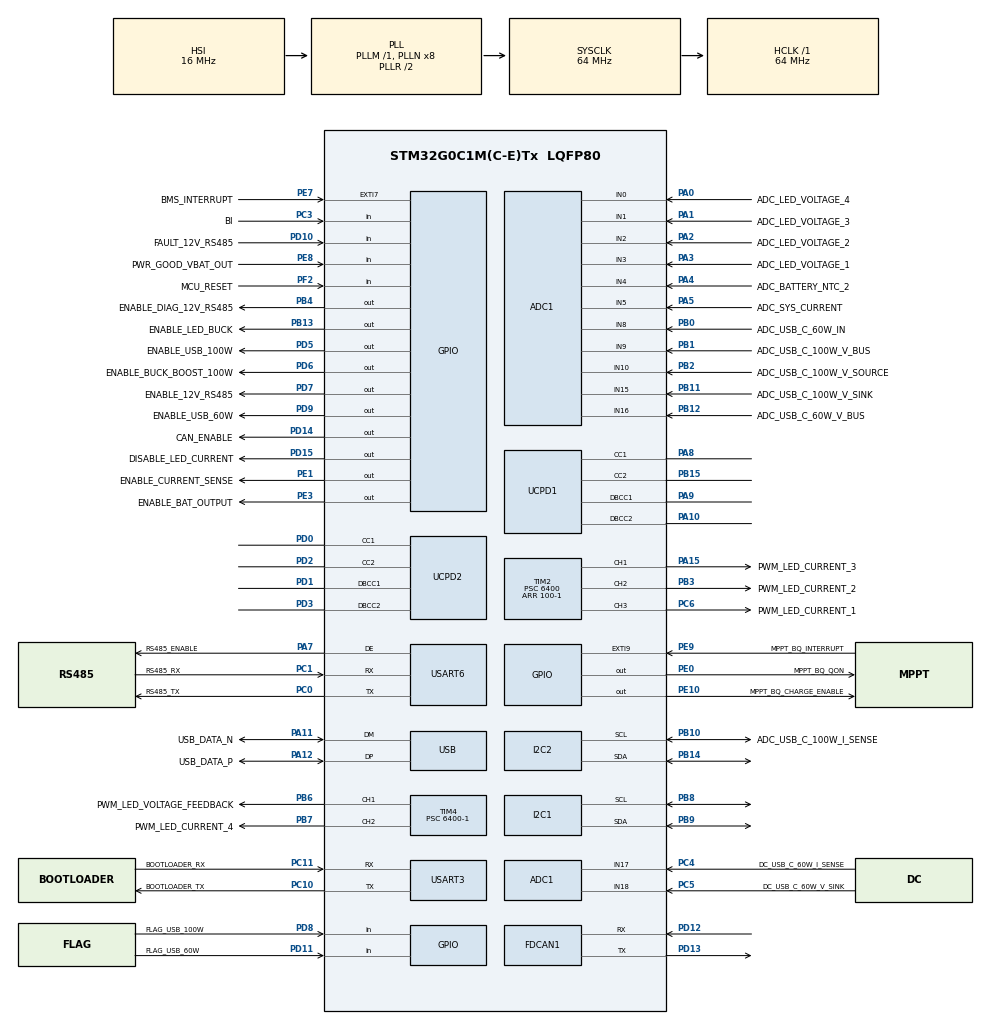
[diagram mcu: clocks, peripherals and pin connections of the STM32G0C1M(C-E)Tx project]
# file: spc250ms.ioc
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ADC1.NbrOfConversion=1
ADC1.NbrOfConversionFlag=0
ADC1.SelectedChannel=ADC_CHANNEL_0|ADC_CHANNEL_1|ADC_CHANNEL_2|ADC_CHANNEL_3|ADC_CHANNEL_4|ADC_CHANNEL_5|ADC_CHANNEL_8|ADC_CHANNEL_9|ADC_CHANNEL_10|ADC_CHANNEL_15|ADC_CHANNEL_16|ADC_CHANNEL_17|ADC_CHANNEL_18
ADC1.Sequencer=NOT_FULLY_CONFIGURABLE
ADC1.master=1
Dma.Request0=UCPD2_RX
Dma.Request1=UCPD2_TX
Dma.Request2=UCPD1_RX
Dma.Request3=UCPD1_TX
Dma.UCPD1_RX.2.Direction=DMA_PERIPH_TO_MEMORY
Dma.UCPD1_RX.2.EventEnable=DISABLE
Dma.UCPD1_RX.2.Instance=DMA1_Channel3
Dma.UCPD1_RX.2.MemDataAlignment=DMA_MDATAALIGN_BYTE
Dma.UCPD1_RX.2.MemInc=DMA_MINC_ENABLE
Dma.UCPD1_RX.2.Mode=DMA_NORMAL
Dma.UCPD1_RX.2.PeriphDataAlignment=DMA_PDATAALIGN_BYTE
Dma.UCPD1_RX.2.PeriphInc=DMA_PINC_DISABLE
Dma.UCPD1_RX.2.Polarity=HAL_DMAMUX_REQ_GEN_RISING
Dma.UCPD1_RX.2.Priority=DMA_PRIORITY_LOW
Dma.UCPD1_RX.2.RequestNumber=1
Dma.UCPD1_RX.2.SignalID=NONE
Dma.UCPD1_RX.2.SyncEnable=DISABLE
Dma.UCPD1_RX.2.SyncPolarity=HAL_DMAMUX_SYNC_NO_EVENT
Dma.UCPD1_RX.2.SyncRequestNumber=1
Dma.UCPD1_RX.2.SyncSignalID=NONE
Dma.UCPD1_TX.3.Direction=DMA_MEMORY_TO_PERIPH
Dma.UCPD1_TX.3.EventEnable=DISABLE
Dma.UCPD1_TX.3.Instance=DMA1_Channel4
Dma.UCPD1_TX.3.MemDataAlignment=DMA_MDATAALIGN_BYTE
Dma.UCPD1_TX.3.MemInc=DMA_MINC_ENABLE
Dma.UCPD1_TX.3.Mode=DMA_NORMAL
Dma.UCPD1_TX.3.PeriphDataAlignment=DMA_PDATAALIGN_BYTE
Dma.UCPD1_TX.3.PeriphInc=DMA_PINC_DISABLE
Dma.UCPD1_TX.3.Polarity=HAL_DMAMUX_REQ_GEN_RISING
Dma.UCPD1_TX.3.Priority=DMA_PRIORITY_LOW
Dma.UCPD1_TX.3.RequestNumber=1
Dma.UCPD1_TX.3.SignalID=NONE
Dma.UCPD1_TX.3.SyncEnable=DISABLE
Dma.UCPD1_TX.3.SyncPolarity=HAL_DMAMUX_SYNC_NO_EVENT
Dma.UCPD1_TX.3.SyncRequestNumber=1
Dma.UCPD1_TX.3.SyncSignalID=NONE
Dma.UCPD2_RX.0.Direction=DMA_PERIPH_TO_MEMORY
Dma.UCPD2_RX.0.EventEnable=DISABLE
Dma.UCPD2_RX.0.Instance=DMA1_Channel1
Dma.UCPD2_RX.0.MemDataAlignment=DMA_MDATAALIGN_BYTE
Dma.UCPD2_RX.0.MemInc=DMA_MINC_ENABLE
Dma.UCPD2_RX.0.Mode=DMA_NORMAL
Dma.UCPD2_RX.0.PeriphDataAlignment=DMA_PDATAALIGN_BYTE
Dma.UCPD2_RX.0.PeriphInc=DMA_PINC_DISABLE
Dma.UCPD2_RX.0.Polarity=HAL_DMAMUX_REQ_GEN_RISING
Dma.UCPD2_RX.0.Priority=DMA_PRIORITY_LOW
Dma.UCPD2_RX.0.RequestNumber=1
Dma.UCPD2_RX.0.SignalID=NONE
Dma.UCPD2_RX.0.SyncEnable=DISABLE
Dma.UCPD2_RX.0.SyncPolarity=HAL_DMAMUX_SYNC_NO_EVENT
Dma.UCPD2_RX.0.SyncRequestNumber=1
Dma.UCPD2_RX.0.SyncSignalID=NONE
Dma.UCPD2_TX.1.Direction=DMA_MEMORY_TO_PERIPH
Dma.UCPD2_TX.1.EventEnable=DISABLE
Dma.UCPD2_TX.1.Instance=DMA1_Channel2
Dma.UCPD2_TX.1.MemDataAlignment=DMA_MDATAALIGN_BYTE
Dma.UCPD2_TX.1.MemInc=DMA_MINC_ENABLE
Dma.UCPD2_TX.1.Mode=DMA_NORMAL
Dma.UCPD2_TX.1.PeriphDataAlignment=DMA_PDATAALIGN_BYTE
Dma.UCPD2_TX.1.PeriphInc=DMA_PINC_DISABLE
Dma.UCPD2_TX.1.Polarity=HAL_DMAMUX_REQ_GEN_RISING
Dma.UCPD2_TX.1.Priority=DMA_PRIORITY_LOW
Dma.UCPD2_TX.1.RequestNumber=1
Dma.UCPD2_TX.1.SignalID=NONE
Dma.UCPD2_TX.1.SyncEnable=DISABLE
Dma.UCPD2_TX.1.SyncPolarity=HAL_DMAMUX_SYNC_NO_EVENT
Dma.UCPD2_TX.1.SyncRequestNumber=1
Dma.UCPD2_TX.1.SyncSignalID=NONE
FDCAN1.CalculateBaudRateNominal=500000
FDCAN1.CalculateTimeBitNominal=2000
FDCAN1.CalculateTimeQuantumNominal=500.0
FDCAN1.NominalPrescaler=32
FDCAN1.NominalTimeSeg1=1
FDCAN1.NominalTimeSeg2=2
I2C1.Timing=0x10B17DB5
I2C2.Timing=0x10B17DB5
Mcu.Family=STM32G0
Mcu.Name=STM32G0C1M(C-E)Tx
Mcu.Package=LQFP80
NVIC.DMA1_Ch4_7_DMA2_Ch1_5_DMAMUX1_OVR_IRQn=true\:0\:0\:false\:false\:true\:false\:true\:true
NVIC.DMA1_Channel1_IRQn=true\:0\:0\:false\:false\:true\:false\:true\:true
NVIC.DMA1_Channel2_3_IRQn=true\:0\:0\:false\:false\:true\:false\:true\:true
NVIC.TIM16_FDCAN_IT0_IRQn=true\:0\:0\:false\:false\:true\:true\:true\:true
NVIC.TIM17_FDCAN_IT1_IRQn=true\:0\:0\:false\:false\:true\:true\:true\:true
NVIC.USB_UCPD1_2_IRQn=true\:0\:0\:false\:false\:true\:true\:true\:true
PA0.GPIO_Label=ADC_LED_VOLTAGE_4
PA0.Mode=IN0
PA0.Signal=ADC1_IN0
PA1.GPIO_Label=ADC_LED_VOLTAGE_3
PA1.Mode=IN1
PA1.Signal=ADC1_IN1
PA10.Mode=EnableDeadBattery
PA10.Signal=UCPD1_DBCC2
PA11\ [PA9].GPIO_Label=USB_DATA_N
PA11\ [PA9].Mode=Device
PA11\ [PA9].Signal=USB_DM
PA12\ [PA10].GPIO_Label=USB_DATA_P
PA12\ [PA10].Mode=Device
PA12\ [PA10].Signal=USB_DP
PA13.Mode=Serial_Wire
PA13.Signal=SYS_SWDIO
PA14-BOOT0.Mode=Serial_Wire
PA14-BOOT0.Signal=SYS_SWCLK
PA15.GPIO_Label=PWM_LED_CURRENT_3 
PA15.Signal=S_TIM2_CH1_ETR
PA2.GPIO_Label=ADC_LED_VOLTAGE_2
PA2.Mode=IN2
PA2.Signal=ADC1_IN2
PA3.GPIO_Label=ADC_LED_VOLTAGE_1
PA3.Mode=IN3
PA3.Signal=ADC1_IN3
PA4.GPIO_Label=ADC_BATTERY_NTC_2
PA4.Mode=IN4
PA4.Signal=ADC1_IN4
PA5.GPIO_Label=ADC_SYS_CURRENT
PA5.Mode=IN5
PA5.Signal=ADC1_IN5
PA7.GPIO_Label=RS485_ENABLE
PA7.Mode=Hardware Flow Control (RS485)
PA7.Signal=USART6_DE
PA8.Mode=Sink_AllSignals
PA8.Signal=UCPD1_CC1
PA9.Mode=EnableDeadBattery
PA9.Signal=UCPD1_DBCC1
PB0.GPIO_Label=ADC_USB_C_60W_IN
PB0.Mode=IN8
PB0.Signal=ADC1_IN8
PB1.GPIO_Label=ADC_USB_C_100W_V_BUS
PB1.Mode=IN9
PB1.Signal=ADC1_IN9
PB10.GPIO_Label=ADC_USB_C_100W_I_SENSE
PB10.Mode=I2C
PB10.Signal=I2C2_SCL
PB11.GPIO_Label=ADC_USB_C_100W_V_SINK
PB11.Mode=IN15
PB11.Signal=ADC1_IN15
PB12.GPIO_Label=ADC_USB_C_60W_V_BUS
PB12.Mode=IN16
PB12.Signal=ADC1_IN16
PB13.GPIO_Label=ENABLE_LED_BUCK
PB13.Signal=GPIO_Output
PB14.Mode=I2C
PB14.Signal=I2C2_SDA
PB15.Mode=Sink_AllSignals
PB15.Signal=UCPD1_CC2
PB2.GPIO_Label=ADC_USB_C_100W_V_SOURCE
PB2.Mode=IN10
PB2.Signal=ADC1_IN10
PB3.GPIO_Label=PWM_LED_CURRENT_2
PB3.Signal=S_TIM2_CH2
PB4.GPIO_Label=ENABLE_DIAG_12V_RS485
PB4.Signal=GPIO_Output
PB6.GPIO_Label=PWM_LED_VOLTAGE_FEEDBACK
PB6.Signal=S_TIM4_CH1
PB7.GPIO_Label=PWM_LED_CURRENT_4
PB7.Signal=S_TIM4_CH2
PB8.Mode=I2C
PB8.Signal=I2C1_SCL
PB9.Mode=I2C
PB9.Signal=I2C1_SDA
PC0.GPIO_Label=RS485_TX
PC0.Mode=Asynchronous
PC0.Signal=USART6_TX
PC1.GPIO_Label=RS485_RX
PC1.Mode=Asynchronous
PC1.Signal=USART6_RX
PC10.GPIO_Label=BOOTLOADER_TX
PC10.Mode=Asynchronous
PC10.Signal=USART3_TX
PC11.GPIO_Label=BOOTLOADER_RX
PC11.Mode=Asynchronous
PC11.Signal=USART3_RX
PC3.GPIO_Label=BI
PC3.Signal=GPIO_Input
PC4.GPIO_Label=DC_USB_C_60W_I_SENSE
PC4.Mode=IN17
PC4.Signal=ADC1_IN17
PC5.GPIO_Label=DC_USB_C_60W_V_SINK
PC5.Mode=IN18
PC5.Signal=ADC1_IN18
PC6.GPIO_Label=PWM_LED_CURRENT_1 
PC6.Signal=S_TIM2_CH3
PD0.Mode=Sink_AllSignals
PD0.Signal=UCPD2_CC1
PD1.Mode=EnableDeadBattery
PD1.Signal=UCPD2_DBCC1
PD10.GPIO_Label=FAULT_12V_RS485
PD10.Signal=GPIO_Input
PD11.GPIO_Label=FLAG_USB_60W
PD11.Signal=GPIO_Input
PD12.Mode=FDCAN_Activate
PD12.Signal=FDCAN1_RX
PD13.Mode=FDCAN_Activate
PD13.Signal=FDCAN1_TX
PD14.GPIO_Label=CAN_ENABLE
PD14.Signal=GPIO_Output
PD15.GPIO_Label=DISABLE_LED_CURRENT
PD15.Signal=GPIO_Output
PD2.Mode=Sink_AllSignals
PD2.Signal=UCPD2_CC2
PD3.Mode=EnableDeadBattery
PD3.Signal=UCPD2_DBCC2
PD5.GPIO_Label=ENABLE_USB_100W
PD5.Signal=GPIO_Output
PD6.GPIO_Label=ENABLE_BUCK_BOOST_100W
PD6.Signal=GPIO_Output
PD7.GPIO_Label=ENABLE_12V_RS485
PD7.Signal=GPIO_Output
PD8.GPIO_Label=FLAG_USB_100W
PD8.Signal=GPIO_Input
PD9.GPIO_Label=ENABLE_USB_60W
PD9.Signal=GPIO_Output
PE0.GPIO_Label=MPPT_BQ_QON
PE0.Signal=GPIO_Output
PE1.GPIO_Label=ENABLE_CURRENT_SENSE
PE1.Signal=GPIO_Output
PE10.GPIO_Label=MPPT_BQ_CHARGE_ENABLE
PE10.Signal=GPIO_Output
PE3.GPIO_Label=ENABLE_BAT_OUTPUT
PE3.Signal=GPIO_Output
PE7.GPIO_Label=BMS_INTERRUPT
PE7.Signal=GPXTI7
PE8.GPIO_Label=PWR_GOOD_VBAT_OUT
PE8.Signal=GPIO_Input
PE9.GPIO_Label=MPPT_BQ_INTERRUPT
PE9.Signal=GPXTI9
PF2-NRST.GPIO_Label=MCU_RESET
PF2-NRST.Signal=GPIO_Input
ProjectManager.HeapSize=0x200
ProjectManager.StackSize=0x400
ProjectManager.TargetToolchain=STM32CubeIDE
RCC.ADCFreq_Value=64000000
RCC.AHBFreq_Value=64000000
RCC.CortexFreq_Value=64000000
RCC.EXTERNAL_CLOCK_VALUE=48000
RCC.HCLKFreq_Value=64000000
RCC.HSE_VALUE=8000000
RCC.HSI48_VALUE=48000000
RCC.HSI_VALUE=16000000
RCC.LSE_VALUE=32768
RCC.SYSCLKFreq_VALUE=64000000
RCC.SYSCLKSource=RCC_SYSCLKSOURCE_PLLCLK
RCC.USBFreq_Value=48000000
RCC.VCOOutputFreq_Value=128000000
SH.S_TIM2_CH1_ETR.0=TIM2_CH1,PWM Generation1 CH1
SH.S_TIM2_CH2.0=TIM2_CH2,PWM Generation2 CH2
SH.S_TIM2_CH3.0=TIM2_CH3,PWM Generation3 CH3
SH.S_TIM4_CH1.0=TIM4_CH1,PWM Generation1 CH1
SH.S_TIM4_CH2.0=TIM4_CH2,PWM Generation2 CH2
TIM2.AutoReloadPreload=TIM_AUTORELOAD_PRELOAD_ENABLE
TIM2.Channel-PWM\ Generation1\ CH1=TIM_CHANNEL_1
TIM2.Channel-PWM\ Generation2\ CH2=TIM_CHANNEL_2
TIM2.Channel-PWM\ Generation3\ CH3=TIM_CHANNEL_3
TIM2.Period=100-1
TIM2.Prescaler=6400
TIM4.AutoReloadPreload=TIM_AUTORELOAD_PRELOAD_ENABLE
TIM4.Channel-PWM\ Generation1\ CH1=TIM_CHANNEL_1
TIM4.Channel-PWM\ Generation2\ CH2=TIM_CHANNEL_2
TIM4.Period=100
TIM4.Prescaler=6400-1
USART3.VirtualMode-Asynchronous=VM_ASYNC
USART6.VirtualMode-Asynchronous=VM_ASYNC
USART6.VirtualMode-Hardware\ Flow\ Control\ (RS485)=VM_ASYNC
USB_DEVICE.CLASS_NAME_FS=CDC
USB_DEVICE.VirtualMode=Cdc
USB_DEVICE.VirtualModeFS=Cdc_FS
VP_SYS_VS_DBSignals.Mode=DisableDeadBatterySignals
VP_TIM2_VS_ClockSourceINT.Mode=Internal
VP_TIM4_VS_ClockSourceINT.Mode=Internal
VP_USBPD_VS_PD3FULL.Mode=PD3_Full_Stack
VP_USBPD_VS_USBPD21.Mode=USBPD_P0P1
VP_USBPD_VS_usbpd_tim1.Mode=TIM1
VP_USB_DEVICE_VS_USB_DEVICE_CDC_FS.Mode=CDC_FS
board=custom

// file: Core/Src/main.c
/* USER CODE BEGIN Header */
/**
  ******************************************************************************
  * @file           : main.c
  * @brief          : Main program body
  ******************************************************************************
  * @attention
  *
  * Copyright (c) 2025 STMicroelectronics.
  * All rights reserved.
  *
  * This software is licensed under terms that can be found in the LICENSE file
  * in the root directory of this software component.
  * If no LICENSE file comes with this software, it is provided AS-IS.
  *
  ******************************************************************************
  */
/* USER CODE END Header */
#include "main.h"
#include "adc.h"
#include "dma.h"
#include "fdcan.h"
#include "i2c.h"
#include "tim.h"
#include "ucpd.h"
#include "usart.h"
#include "usbpd.h"
#include "usb_device.h"
#include "gpio.h"

/* USER CODE BEGIN Includes */
#include "usbd_cdc_if.h"
/* USER CODE END Includes */

void SystemClock_Config(void);

int main(void)
{

  /* MCU Configuration--------------------------------------------------------*/

  /* Reset of all peripherals, Initializes the Flash interface and the Systick. */
  HAL_Init();

  /* Configure the system clock */
  SystemClock_Config();

  /* Initialize all configured peripherals */
  MX_GPIO_Init();
  MX_DMA_Init();
  MX_FDCAN1_Init();
  MX_I2C1_Init();
  MX_I2C2_Init();
  MX_UCPD1_Init();
  MX_UCPD2_Init();
  MX_USART3_UART_Init();
  MX_USART6_UART_Init();
  MX_ADC1_Init();
  MX_TIM2_Init();
  MX_TIM4_Init();
  MX_USB_Device_Init();
  /* USER CODE BEGIN 2 */
  HAL_TIM_PWM_Start(&htim2, TIM_CHANNEL_1);
  HAL_TIM_PWM_Start(&htim2, TIM_CHANNEL_2);
  HAL_TIM_PWM_Start(&htim2, TIM_CHANNEL_3);
  HAL_TIM_PWM_Start(&htim4, TIM_CHANNEL_1);
  HAL_TIM_PWM_Start(&htim4, TIM_CHANNEL_2);

  uint8_t intensity = 0;
  /* USER CODE END 2 */

  /* USBPD initialisation ---------------------------------*/
  MX_USBPD_Init();

  /* Infinite loop */
  /* USER CODE BEGIN WHILE */
  char txtBuffer[8];
  uint8_t count = 1;
  while (1)
  {
	  /*
	   * 100 is max according to out timing this sets pwm dutycycle like analog write.
	   */
	  htim2.Instance->CCR1 = 100 - intensity;

	  // v con port test
	  sprintf(txtBufferQ,"%u\r\n", count);
	  count ++;
	  if (count>100)count=1;
	  CDC_Transmit_FS((uint8_t *) txtBuffer, strlen(txtBuffer));

	  HAL_Delay(100);

    /* USER CODE END WHILE */
    USBPD_DPM_Run();

  }
}

void SystemClock_Config(void)
{
  RCC_OscInitTypeDef RCC_OscInitStruct = {0};
  RCC_ClkInitTypeDef RCC_ClkInitStruct = {0};

  /** Configure the main internal regulator output voltage
  */
  HAL_PWREx_ControlVoltageScaling(PWR_REGULATOR_VOLTAGE_SCALE1);

  /** Initializes the RCC Oscillators according to the specified parameters
  * in the RCC_OscInitTypeDef structure.
  */
  RCC_OscInitStruct.OscillatorType = RCC_OSCILLATORTYPE_HSI|RCC_OSCILLATORTYPE_HSI48;
  RCC_OscInitStruct.HSIState = RCC_HSI_ON;
  RCC_OscInitStruct.HSI48State = RCC_HSI48_ON;
  RCC_OscInitStruct.HSIDiv = RCC_HSI_DIV1;
  RCC_OscInitStruct.HSICalibrationValue = RCC_HSICALIBRATION_DEFAULT;
  RCC_OscInitStruct.PLL.PLLState = RCC_PLL_ON;
  RCC_OscInitStruct.PLL.PLLSource = RCC_PLLSOURCE_HSI;
  RCC_OscInitStruct.PLL.PLLM = RCC_PLLM_DIV1;
  RCC_OscInitStruct.PLL.PLLN = 8;
  RCC_OscInitStruct.PLL.PLLP = RCC_PLLP_DIV2;
  RCC_OscInitStruct.PLL.PLLQ = RCC_PLLQ_DIV2;
  RCC_OscInitStruct.PLL.PLLR = RCC_PLLR_DIV2;
  if (HAL_RCC_OscConfig(&RCC_OscInitStruct) != HAL_OK)
  {
    Error_Handler();
  }

  /** Initializes the CPU, AHB and APB buses clocks
  */
  RCC_ClkInitStruct.ClockType = RCC_CLOCKTYPE_HCLK|RCC_CLOCKTYPE_SYSCLK
                              |RCC_CLOCKTYPE_PCLK1;
  RCC_ClkInitStruct.SYSCLKSource = RCC_SYSCLKSOURCE_PLLCLK;
  RCC_ClkInitStruct.AHBCLKDivider = RCC_SYSCLK_DIV1;
  RCC_ClkInitStruct.APB1CLKDivider = RCC_HCLK_DIV1;

  if (HAL_RCC_ClockConfig(&RCC_ClkInitStruct, FLASH_LATENCY_2) != HAL_OK)
  {
    Error_Handler();
  }
}

void Error_Handler(void)
{
  __disable_irq();
  while (1)
  {
  }
}
